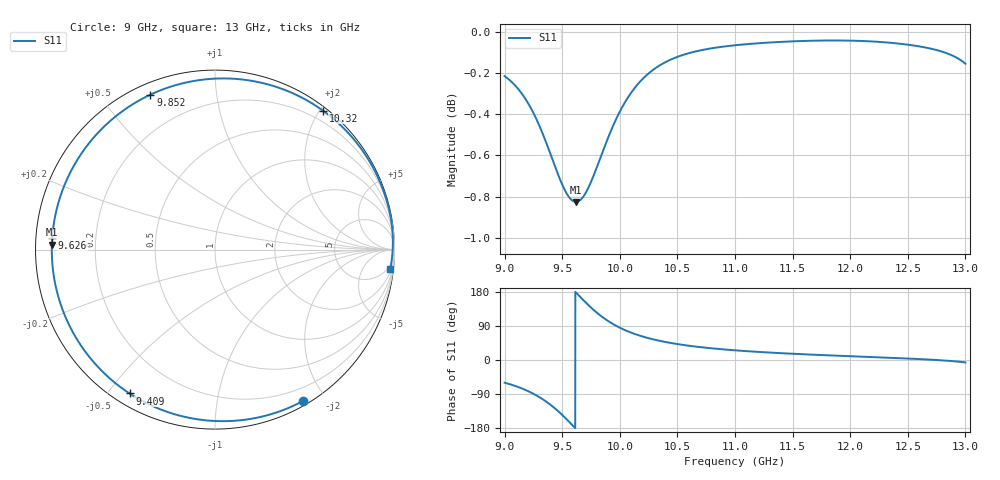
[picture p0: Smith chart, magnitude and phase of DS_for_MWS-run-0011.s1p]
! TOUCHSTONE file generated by CST DESIGN STUDIO
! Date and time: Tue Feb  4 12:57:32 2025
! Project name: C:\Work\MatlabApps\UnitCellOptimizationMatlab\CST\unitcell.cst
! Tree item: Tasks\Sweep1\SPara1\S-Parameters
! Header version: 2024
! Port assignment regex: !\s*Touchstone port\s*([0-9]+)\s*=\s*(CST MWS port|CST DES external port|CST DES block port)\s*(.+)\s* \(\"(.*)\"\)(\s*mode\s*([0-9]+))?.*
! Touchstone port assignment:
! Touchstone port 1 = CST DES external port 1 ("")
# GHz S MA R 50
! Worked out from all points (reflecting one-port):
!   4001 points, 9 GHz to 13 GHz, reference 50 ohm
!   lowest |S11| = -0.8 dB at 9.619 GHz (marker M1), VSWR 21.05, Z = 2.38 + j0.766 ohm
!   phase of S11 starts at -60 deg and turns -307 deg over the sweep
!   S11 on the Smith chart (normalised r, x): 9 GHz: 0.05, -1.74; 9.409 GHz: 0.05, -0.57; 9.626 GHz: 0.05, +0.03; 9.852 GHz: 0.05, +0.67; 10.32 GHz: 0.05, +2.04; 13 GHz: 3, -18
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9  0.9756 -59.8
9.129  0.9678 -72.6
9.254  0.9552 -89.7
9.337  0.9437 -104.8
9.409  0.9322 -120.7
9.454  0.9249 -132.1
9.5  0.9181 -145.0
9.562  0.9115 -163.7
9.619  0.9093 178.2
9.626  0.9093 176.0
9.682  0.9119 158.4
9.745  0.9188 139.7
9.798  0.9267 125.5
9.852  0.9353 112.6
9.92  0.9458 98.7
10  0.9564 85.2
10.073  0.9642 75.2
10.149  0.9707 66.7
10.231  0.976 59.1
10.322  0.9805 52.2
10.5  0.9862 42.0
10.719  0.99 33.3
11  0.9926 25.5
11.5  0.9948 16.5
12  0.9952 10.0
12.5  0.9929 3.9
12.791  0.9892 -0.8
13  0.9824 -6.4
